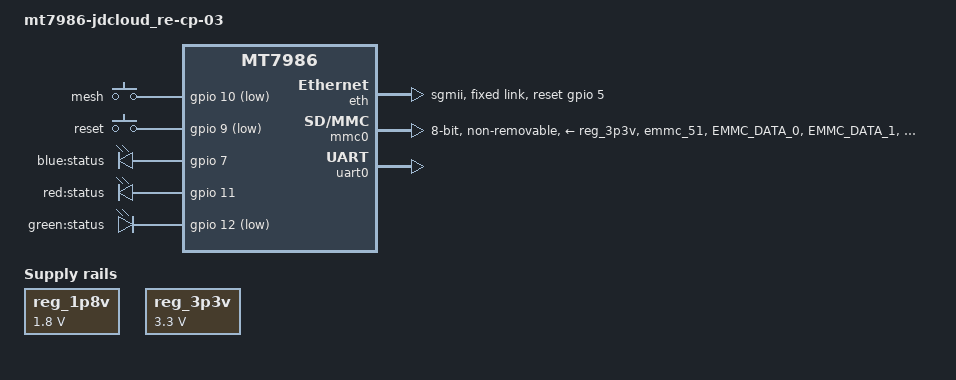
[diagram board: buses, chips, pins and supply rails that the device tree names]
// SPDX-License-Identifier: GPL-2.0-or-later

/dts-v1/;
#include <dt-bindings/input/linux-event-codes.h>
#include "mt7986.dtsi"
#include <dt-bindings/gpio/gpio.h>

/ {
	#address-cells = <1>;
	#size-cells = <1>;
	model = "mt7986-jdcloud_re-cp-03";
	compatible = "mediatek,mt7986", "mediatek,mt7986-rfb";

	chosen {
		stdout-path = &uart0;
		tick-timer = &timer0;
	};

	config {
		bootcmd = "mtkboardboot";
		blink_led = "blue:status";
		system_led = "red:status";
	};

	gpio-keys {
		compatible = "gpio-keys";

		button-mesh {
			label = "mesh";
			gpios = <&gpio 10 GPIO_ACTIVE_LOW>;
		};

		button-reset {
			label = "reset";
			gpios = <&gpio 9 GPIO_ACTIVE_LOW>;
		};
	};

	gpio-leds {
		compatible = "gpio-leds";

		led-0 {
			label = "blue:status";
			gpios = <&gpio 7 GPIO_ACTIVE_HIGH>;
		};

		red_led: led-1 {
			label = "red:status";
			gpios = <&gpio 11 GPIO_ACTIVE_HIGH>;
		};

		green_led: led-2 {
			label = "green:status";
			gpios = <&gpio 12 GPIO_ACTIVE_LOW>;
		};
	};

	reg_1p8v: regulator-1p8v {
		compatible = "regulator-fixed";
		regulator-name = "fixed-1.8V";
		regulator-min-microvolt = <1800000>;
		regulator-max-microvolt = <1800000>;
		regulator-boot-on;
		regulator-always-on;
	};

	reg_3p3v: regulator-3p3v {
		compatible = "regulator-fixed";
		regulator-name = "fixed-3.3V";
		regulator-min-microvolt = <3300000>;
		regulator-max-microvolt = <3300000>;
		regulator-boot-on;
		regulator-always-on;
	};
};

&eth {
	status = "okay";
	mediatek,gmac-id = <0>;
	phy-mode = "sgmii";
	mediatek,switch = "mt7531";
	reset-gpios = <&gpio 5 GPIO_ACTIVE_HIGH>;

	fixed-link {
		speed = <1000>;
		full-duplex;
	};
};

&mmc0 {
	bus-width = <8>;
	cap-mmc-highspeed;
	cap-mmc-hw-reset;
	max-frequency = <200000000>;
	non-removable;
	pinctrl-names = "default";
	pinctrl-0 = <&mmc0_pins_default>;
	vmmc-supply = <&reg_3p3v>;
	vqmmc-supply = <&reg_1p8v>;
	status = "okay";
};

&pinctrl {
	mmc0_pins_default: mmc0default {
		mux {
			function = "flash";
			groups =  "emmc_51";
		};

		conf-cmd-dat {
			pins = "EMMC_DATA_0", "EMMC_DATA_1", "EMMC_DATA_2",
			       "EMMC_DATA_3", "EMMC_DATA_4", "EMMC_DATA_5",
			       "EMMC_DATA_6", "EMMC_DATA_7", "EMMC_CMD";
			input-enable;
			drive-strength = <MTK_DRIVE_4mA>;
			bias-pull-up = <MTK_PUPD_SET_R1R0_01>;
		};

		conf-clk {
			pins = "EMMC_CK";
			drive-strength = <MTK_DRIVE_6mA>;
			bias-pull-down = <MTK_PUPD_SET_R1R0_10>;
		};

		conf-dsl {
			pins = "EMMC_DSL";
			bias-pull-down = <MTK_PUPD_SET_R1R0_10>;
		};

		conf-rst {
			pins = "EMMC_RSTB";
			drive-strength = <MTK_DRIVE_4mA>;
			bias-pull-up = <MTK_PUPD_SET_R1R0_01>;
		};
	};
};

&uart0 {
	status = "okay";
};

&watchdog {
	status = "disabled";
};
